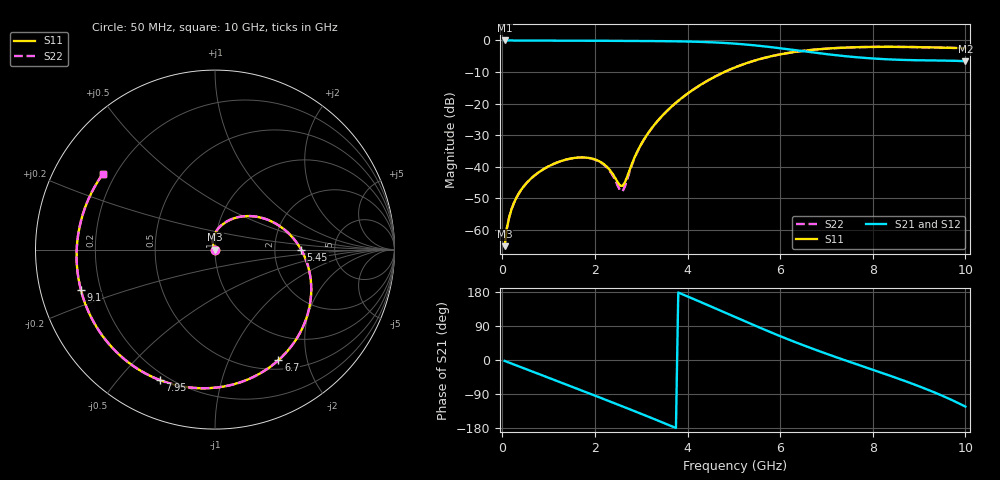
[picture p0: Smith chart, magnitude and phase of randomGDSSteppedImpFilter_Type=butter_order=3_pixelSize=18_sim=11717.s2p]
! freq	dB(S11)	phase(S11)	dB(S12)	phase(S12)
!  dB(S21)	phase(S21)	dB(S22)	phase(S22)
!S-par simulation data
#  GHz  S  DB  R 50
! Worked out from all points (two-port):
!   200 points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, 50 MHz to 10 GHz, reference 50 ohm
!   highest |S21| = -0.01 dB at 50 MHz (marker M1); lowest = -6.6 dB at 10 GHz (marker M2)
!   |S21| within 3 dB of the highest: start of sweep to 6.283 GHz
!   lowest |S11| = -65.2 dB at 50 MHz (marker M3), VSWR 1.00, Z = 50 + j0.0548 ohm
!   |S11| at or under -10 dB: start of sweep to 4.796 GHz
!   |S22| runs from -65.2 to -2.0 dB; largest |S21 - S12| = 0
!   S11 on the Smith chart (normalised r, x): 50 MHz: 1.00, +0.00; 5.45 GHz: 2.85, -0.00; 6.7 GHz: 0.62, -1.54; 7.95 GHz: 0.17, -0.65; 9.1 GHz: 0.13, -0.14; 10 GHz: 0.15, +0.30
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0.05  -65.18 83.5  -0.01 -2.4  -0.01 -2.4  -65.19 83.3
0.1  -59.40 83.9  -0.02 -4.8  -0.02 -4.8  -59.41 83.7
0.2  -53.46 80.6  -0.03 -9.4  -0.03 -9.4  -53.47 80.3
0.5  -45.58 68.3  -0.04 -23.4  -0.04 -23.4  -45.59 67.8
1.05  -39.51 45.4  -0.06 -49.2  -0.06 -49.2  -39.53 44.3
1.75  -37.06 18.2  -0.09 -82.1  -0.09 -82.1  -37.12 16.2
2.2  -39.28 7.1  -0.12 -103.5  -0.12 -103.5  -39.48 3.5
2.6  -46.07 63.5  -0.14 -122.6  -0.14 -122.6  -47.74 65.0
2.95  -34.21 112.7  -0.17 -139.6  -0.17 -139.6  -34.33 115.6
3.4  -24.72 100.9  -0.22 -161.8  -0.22 -161.8  -24.74 102.0
3.8  -19.13 83.4  -0.29 178.0  -0.29 178.0  -19.13 84.0
4.2  -14.83 64.1  -0.42 157.3  -0.42 157.3  -14.83 64.5
5.05  -8.40 20.7  -1.04 112.3  -1.04 112.3  -8.40 20.8
5.45  -6.37 -0.0  -1.56 91.1  -1.56 91.1  -6.37 0.0
6.05  -4.28 -30.0  -2.57 60.5  -2.57 60.5  -4.28 -30.0
6.7  -2.97 -60.2  -3.80 29.8  -3.80 29.8  -2.97 -60.2
7.35  -2.31 -88.1  -4.91 1.4  -4.91 1.4  -2.31 -88.1
7.95  -2.05 -112.9  -5.67 -23.7  -5.67 -23.7  -2.05 -112.9
8.35  -2.02 -129.6  -6.01 -40.5  -6.01 -40.5  -2.02 -129.5
9.1  -2.16 -163.3  -6.31 -74.1  -6.31 -74.1  -2.15 -163.2
9.55  -2.31 173.2  -6.39 -96.9  -6.39 -96.9  -2.31 173.4
10  -2.45 145.8  -6.59 -123.0  -6.59 -123.0  -2.45 146.1
